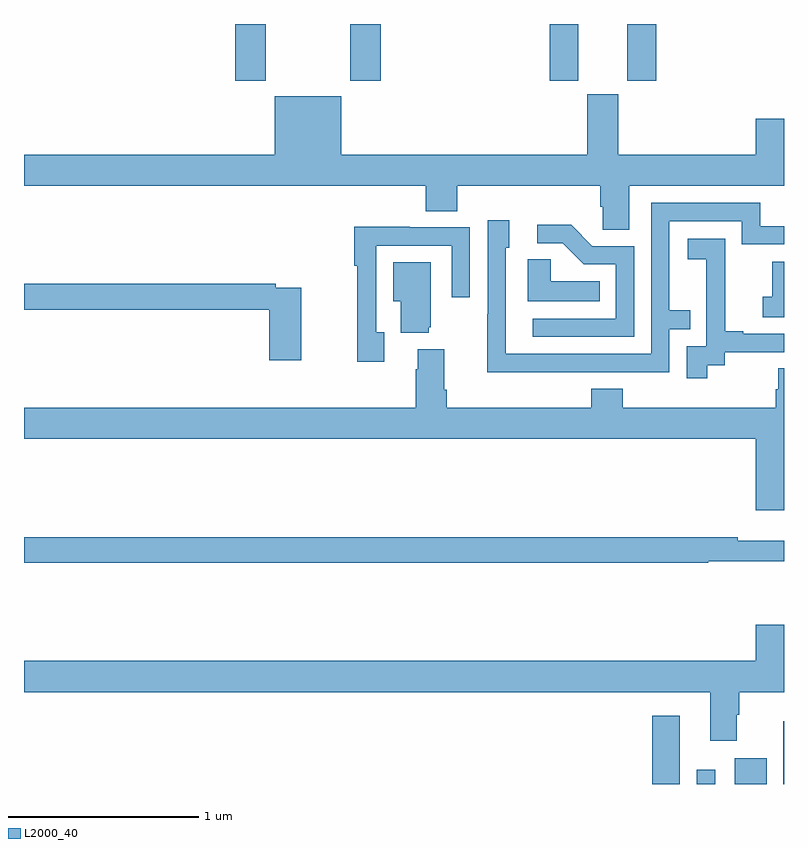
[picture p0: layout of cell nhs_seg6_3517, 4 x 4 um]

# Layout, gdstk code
import gdstk
lib = gdstk.Library(unit=1e-6, precision=1e-09)
def R(c, l, rs):  # rectangles x0, y0, x1, y1
    for r in rs: c.add(gdstk.rectangle(r[:2], r[2:], *l))
def P(c, l, *ps):  # polygons
    for p in ps: c.add(gdstk.Polygon(p, *l))
L2000_40 = (2000, 40)

nhs_seg6_3517 = lib.new_cell('nhs_seg6_3517')
R(nhs_seg6_3517, L2000_40, [(320.306,965.5,320.452,965.86), (320.541,965.5,320.637,965.575), (320.741,965.5,320.908,965.635), (320.997,965.5,321,965.83), (318.113,969.201,318.273,969.5), (318.718,969.201,318.878,969.5), (319.766,969.201,319.918,969.5), (320.174,969.201,320.327,969.5)])
P(nhs_seg6_3517, L2000_40, [(320.185,968.648),(321,968.648),(321,969.001),(320.852,969.001),(320.852,968.812),(320.128,968.812),(320.128,969.129),(319.964,969.129),(319.964,968.812),(318.67,968.812),(318.67,969.121),(318.32,969.121),(318.32,968.812),(317,968.812),(317,968.648),(319.115,968.648),(319.115,968.515),(319.28,968.515),(319.28,968.648),(320.033,968.648),(320.033,968.539),(320.046,968.539),(320.046,968.416),(320.185,968.416)],
  [(319.901,967.668),(320.397,967.668),(320.397,967.893),(320.507,967.893),(320.507,967.994),(320.397,967.994),(320.397,968.463),(320.778,968.463),(320.778,968.34),(321,968.34),(321,968.436),(320.875,968.436),(320.875,968.559),(320.301,968.559),(320.301,967.764),(319.536,967.764),(319.536,968.322),(319.555,968.322),(319.555,968.467),(319.44,968.467),(319.44,967.973),(319.438,967.973),(319.438,967.667),(319.901,967.667)],
  [(320.211,968.331),(319.992,968.331),(319.879,968.444),(319.701,968.444),(319.701,968.346),(319.835,968.346),(319.946,968.235),(320.115,968.235),(320.115,967.95),(319.677,967.95),(319.677,967.854),(320.211,967.854)],
  [(318.895,967.878),(318.855,967.878),(318.855,968.334),(319.251,968.334),(319.251,968.061),(319.347,968.061),(319.347,968.43),(319.031,968.43),(319.031,968.432),(318.739,968.432),(318.739,968.227),(318.754,968.227),(318.754,967.722),(318.895,967.722)],
  [(320.596,967.705),(320.688,967.705),(320.688,967.773),(321,967.773),(321,967.869),(320.785,967.869),(320.785,967.882),(320.69,967.882),(320.69,968.165),(320.691,968.165),(320.691,968.371),(320.493,968.371),(320.493,968.261),(320.591,968.261),(320.591,968.033),(320.592,968.033),(320.592,967.803),(320.487,967.803),(320.487,967.635),(320.596,967.635)],
  [(320.03,968.146),(319.773,968.146),(319.773,968.261),(319.652,968.261),(319.652,968.042),(320.03,968.042)],
  [(321,968.25),(320.938,968.25),(320.938,968.065),(320.889,968.065),(320.889,967.956),(321,967.956)],
  [(319.13,967.905),(319.141,967.905),(319.141,968.245),(318.944,968.245),(318.944,968.042),(318.983,968.042),(318.983,967.874),(319.13,967.874)],
  [(318.46,968.112),(318.326,968.112),(318.326,968.132),(317,968.132),(317,967.996),(318.29,967.996),(318.29,967.731),(318.46,967.731)],
  [(321,967.688),(320.969,967.688),(320.969,967.578),(320.957,967.578),(320.957,967.48),(320.15,967.48),(320.15,967.579),(319.985,967.579),(319.985,967.48),(319.226,967.48),(319.226,967.576),(319.213,967.576),(319.213,967.789),(319.073,967.789),(319.073,967.682),(319.061,967.682),(319.061,967.48),(317,967.48),(317,967.316),(320.852,967.316),(320.852,966.942),(321,966.942)],
  [(320.602,966.672),(321,966.672),(321,966.781),(320.756,966.781),(320.756,966.8),(317,966.8),(317,966.664),(320.602,966.664)],
  [(320.752,965.864),(320.765,965.864),(320.765,965.984),(321,965.984),(321,966.337),(320.852,966.337),(320.852,966.148),(317,966.148),(317,965.984),(320.612,965.984),(320.612,965.727),(320.752,965.727)])

lib.write_gds('nhs_seg6_3517.gds')
